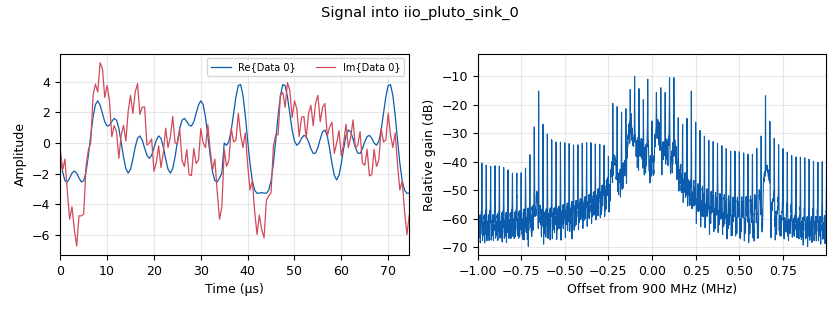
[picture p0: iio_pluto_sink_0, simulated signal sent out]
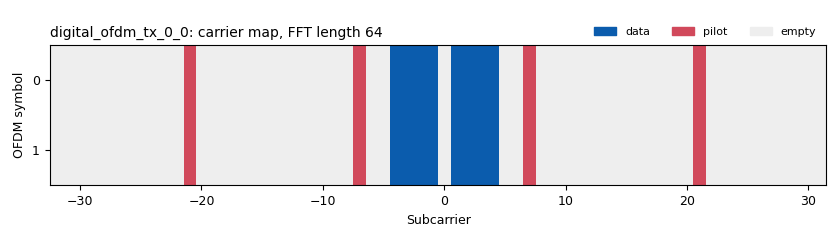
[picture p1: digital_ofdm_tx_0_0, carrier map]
options:
  parameters:
    author: satya
    generate_options: no_gui
    id: ofdm
    output_language: python
    title: Not titled yet
  states: {}

blocks:
- name: samp_rate
  id: variable
  parameters:
    value: '2000000'
  states: {}
- name: analog_random_source_x_0
  id: analog_random_source_x
  parameters:
    max: '2'
    min: '0'
    num_samps: '1000'
    repeat: 'True'
    type: byte
  states: {}
- name: blocks_file_sink_0
  id: blocks_file_sink
  parameters:
    file: D:\Bunker\OneDrive - Amrita vishwa vidyapeetham\BaseCamp\AudioScrubber\src\ofdm\noisy.iq
    type: complex
  states: {}
- name: blocks_file_source_0
  id: blocks_file_source
  parameters:
    repeat: 'True'
    type: complex
  states: {}
- name: blocks_multiply_const_vxx_0
  id: blocks_multiply_const_vxx
  parameters:
    const: '0.5'
    type: complex
  states: {}
- name: blocks_stream_to_tagged_stream_0
  id: blocks_stream_to_tagged_stream
  parameters:
    len_tag_key: '"packet_len"'
    minoutbuf: '65536'
    packet_len: '96'
    type: byte
  states: {}
- name: digital_crc32_bb_1
  id: digital_crc32_bb
  parameters:
    check: 'False'
    lengthtagname: '"packet_len"'
    minoutbuf: '65536'
    packed: 'True'
  states: {}
- name: digital_ofdm_rx_0
  id: digital_ofdm_rx
  parameters:
    cp_len: '16'
    fft_len: '64'
    header_mod: '"BPSK"'
    packet_len_key: '"length"'
    payload_mod: '"BPSK"'
  states: {}
- name: digital_ofdm_tx_0_0
  id: digital_ofdm_tx
  parameters:
    cp_len: '16'
    fft_len: '64'
    header_mod: '"QPSK"'
    minoutbuf: '65536'
    occupied_carriers: ((-4, -3, -2, -1, 1, 2, 3, 4),)
    packet_len_key: '"packet_len"'
    payload_mod: '"QPSK"'
    pilot_carriers: ((-21, -7, 7, 21,),)
    pilot_symbols: ((1, 1, 1, -1),)
    rolloff: '0'
    sync_word1: None
    sync_word2: None
  states: {}
- name: iio_pluto_sink_0
  id: iio_pluto_sink
  parameters:
    attenuation1: '10.0'
    bandwidth: '20000000'
    buffer_size: '4400'
    cyclic: 'True'
    filter_source: '''Auto'''
    frequency: '900000000 '
    len_tag_key: packet_len
    samplerate: samp_rate
    type: fc32
    uri: ip:192.168.2.1
  states: {}
- name: rtlsdr_source_0
  id: rtlsdr_source
  parameters:
    bb_gain0: '20'
    freq0: '900000000'
    gain0: '10'
    gain_mode0: 'False'
    if_gain0: '20'
    sample_rate: samp_rate
    sync: sync
    type: fc32
  states: {}

connections:
- [analog_random_source_x_0, '0', blocks_stream_to_tagged_stream_0, '0']
- [blocks_file_source_0, '0', digital_ofdm_rx_0, '0']
- [blocks_multiply_const_vxx_0, '0', iio_pluto_sink_0, '0']
- [blocks_stream_to_tagged_stream_0, '0', digital_crc32_bb_1, '0']
- [digital_crc32_bb_1, '0', digital_ofdm_tx_0_0, '0']
- [digital_ofdm_tx_0_0, '0', blocks_multiply_const_vxx_0, '0']
- [rtlsdr_source_0, '0', blocks_file_sink_0, '0']

metadata:
  file_format: 1
  grc_version: 3.10.12.0
